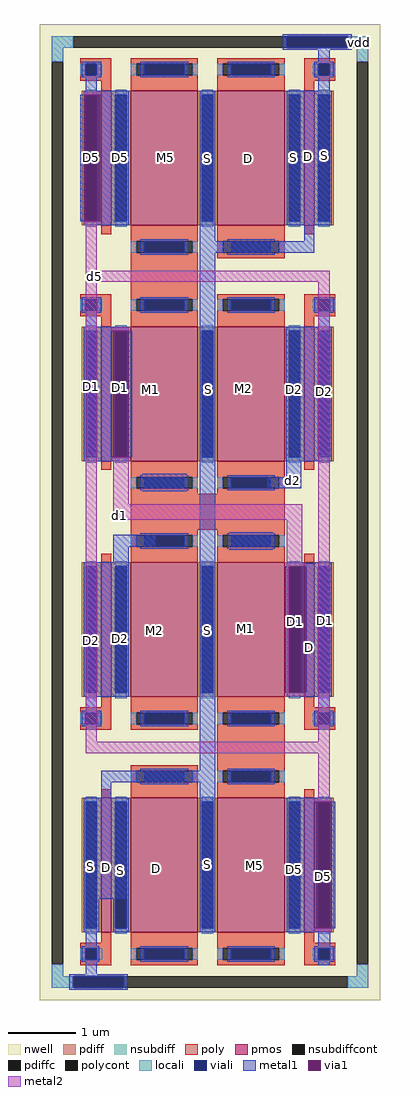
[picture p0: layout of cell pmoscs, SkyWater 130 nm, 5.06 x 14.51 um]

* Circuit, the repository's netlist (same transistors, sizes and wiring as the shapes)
** sch_path: /home/alex/mbkmpolytron/opamp1/mag/pmoscs.sch
.subckt pmoscs VDD D5 D1 D2
*.PININFO VDD:B D5:B D2:B D1:B
XM5 D5 D2 VDD VDD sky130_fd_pr__pfet_01v8 L=1 W=2 nf=1 m=2
XM1 D1 D2 VDD VDD sky130_fd_pr__pfet_01v8 L=1 W=2 nf=1 m=2
XM2 D2 D2 VDD VDD sky130_fd_pr__pfet_01v8 L=1 W=2 nf=1 m=2
XM3 VDD VDD VDD VDD sky130_fd_pr__pfet_01v8 L=1 W=2 nf=1 m=2
XM4 VDD VDD VDD VDD sky130_fd_pr__pfet_01v8 L=.15 W=2 nf=1 m=2
XM6 D2 D2 D2 VDD sky130_fd_pr__pfet_01v8 L=.15 W=2 nf=1 m=2
XM7 D1 D1 D1 VDD sky130_fd_pr__pfet_01v8 L=.15 W=2 nf=1 m=2
XM8 D5 D5 D5 VDD sky130_fd_pr__pfet_01v8 L=.15 W=2 nf=1 m=2
.ends
.end

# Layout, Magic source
magic
tech sky130A
magscale 1 2
<< nwell >>
rect -176 -101 836 2801
<< nsubdiff >>
rect -140 2731 -77 2765
rect 740 2731 800 2765
rect -140 2689 -106 2731
rect 766 2689 800 2731
rect -140 -31 -106 5
rect 766 -31 800 5
rect -140 -65 -77 -31
rect 740 -65 800 -31
<< nsubdiffcont >>
rect -77 2731 740 2765
rect -140 5 -106 2689
rect 766 5 800 2689
rect -77 -65 740 -31
<< poly >>
rect -56 2683 36 2699
rect -56 2649 -40 2683
rect -6 2649 36 2683
rect -56 2633 36 2649
rect 6 2620 36 2633
rect 610 2683 702 2699
rect 610 2649 652 2683
rect 686 2649 702 2683
rect 610 2633 702 2649
rect 610 2625 640 2633
rect 94 1998 294 2105
rect -56 1982 36 1998
rect -56 1948 -40 1982
rect -6 1948 36 1982
rect -56 1932 36 1948
rect 6 1912 36 1932
rect 610 1982 702 1998
rect 610 1948 652 1982
rect 686 1948 702 1982
rect 610 1932 702 1948
rect 610 1901 640 1932
rect 94 1297 552 1404
rect 6 769 36 795
rect -56 753 36 769
rect -56 719 -40 753
rect -6 719 36 753
rect -56 703 36 719
rect 610 769 640 789
rect 610 753 702 769
rect 610 719 652 753
rect 686 719 702 753
rect 610 703 702 719
rect 352 597 552 703
rect 6 69 36 85
rect -56 53 36 69
rect -56 19 -40 53
rect -6 19 36 53
rect -56 3 36 19
rect 610 69 640 91
rect 610 53 702 69
rect 610 19 652 53
rect 686 19 702 53
rect 610 3 702 19
<< polycont >>
rect -40 2649 -6 2683
rect 652 2649 686 2683
rect -40 1948 -6 1982
rect 652 1948 686 1982
rect -40 719 -6 753
rect 652 719 686 753
rect -40 19 -6 53
rect 652 19 686 53
<< locali >>
rect -140 2731 -77 2765
rect 740 2731 800 2765
rect -140 2689 -106 2731
rect 766 2689 800 2731
rect -56 2649 -40 2683
rect -6 2649 10 2683
rect 636 2649 652 2683
rect 686 2649 702 2683
rect -56 1948 -40 1982
rect -6 1948 10 1982
rect 636 1948 652 1982
rect 686 1948 702 1982
rect 652 1873 686 1948
rect -56 719 -40 753
rect -6 719 10 753
rect 636 719 652 753
rect 686 719 702 753
rect 652 703 686 719
rect -56 19 -40 53
rect -6 19 10 53
rect 636 19 652 53
rect 686 19 702 53
rect -140 -31 -106 5
rect 652 3 686 19
rect 766 -31 800 5
rect -140 -65 -77 -31
rect 740 -65 800 -31
<< viali >>
rect 558 2731 740 2765
rect -40 2649 -6 2683
rect 652 2649 686 2683
rect -40 1948 -6 1982
rect 652 1948 686 1982
rect -40 719 -6 753
rect 652 719 686 753
rect -40 19 -6 53
rect 652 19 686 53
rect -77 -65 74 -31
<< metal1 >>
rect 546 2765 752 2771
rect 546 2731 558 2765
rect 740 2731 752 2765
rect 546 2725 752 2731
rect 652 2689 686 2725
rect -52 2683 6 2689
rect -52 2649 -40 2683
rect -6 2649 6 2683
rect -52 2643 6 2649
rect 640 2683 698 2689
rect 640 2649 652 2683
rect 686 2649 698 2683
rect 640 2643 698 2649
rect -40 2602 -6 2643
rect 652 2602 686 2643
rect -46 2590 88 2602
rect -56 2214 -46 2590
rect 6 2214 88 2590
rect -46 2202 88 2214
rect 300 2155 346 2602
rect 558 2202 692 2602
rect 610 2155 640 2202
rect 300 2121 640 2155
rect -52 1982 6 1988
rect -52 1948 -40 1982
rect -6 1948 6 1982
rect -52 1942 6 1948
rect -40 1901 -6 1942
rect -46 1889 88 1901
rect -46 1513 36 1889
rect 88 1513 98 1889
rect -46 1501 88 1513
rect 129 1411 259 1463
rect 42 1247 168 1282
rect 42 1200 88 1247
rect -46 800 88 1200
rect -40 759 -6 800
rect -52 753 6 759
rect -52 719 -40 753
rect -6 719 6 753
rect -52 713 6 719
rect -40 703 -6 713
rect 300 581 346 2121
rect 640 1982 698 1988
rect 640 1948 652 1982
rect 686 1948 698 1982
rect 640 1942 698 1948
rect 652 1901 686 1942
rect 556 1888 686 1901
rect 556 1501 690 1888
rect 556 1454 602 1501
rect 500 1420 602 1454
rect 387 1238 517 1290
rect 558 1198 607 1200
rect 558 1188 692 1198
rect 554 812 564 1188
rect 616 812 692 1188
rect 558 800 692 812
rect 652 759 686 800
rect 640 753 698 759
rect 640 719 652 753
rect 686 719 698 753
rect 640 713 698 719
rect 652 703 686 713
rect 6 547 346 581
rect 6 500 36 547
rect -46 200 88 500
rect -46 100 0 200
rect 300 100 346 547
rect 558 488 692 500
rect 558 112 640 488
rect 692 112 702 488
rect 558 100 692 112
rect -40 59 -6 100
rect 652 59 687 100
rect -52 53 0 59
rect -52 19 -40 53
rect -6 19 0 53
rect -52 13 0 19
rect 640 53 698 59
rect 640 19 652 53
rect 686 19 698 53
rect 640 13 698 19
rect -40 -25 -6 13
rect 652 3 686 13
rect -89 -31 86 -25
rect -89 -65 -77 -31
rect 74 -65 86 -31
rect -89 -71 86 -65
<< via1 >>
rect -46 2214 6 2590
rect 36 1513 88 1889
rect 564 812 616 1188
rect 640 112 692 488
<< metal2 >>
rect -46 2590 6 2600
rect -46 2204 6 2214
rect -40 2068 -6 2204
rect -40 2034 686 2068
rect -40 667 -6 2034
rect 36 1889 88 1899
rect 36 1503 88 1513
rect 42 1373 88 1503
rect 42 1327 604 1373
rect 558 1198 604 1327
rect 558 1188 616 1198
rect 558 812 564 1188
rect 558 802 616 812
rect 652 667 686 2034
rect -40 633 686 667
rect 652 498 686 633
rect 640 488 692 498
rect 640 102 692 112
use sky130_fd_pr__pfet_01v8_2ZH9AN  sky130_fd_pr__pfet_01v8_2ZH9AN_0
transform 1 0 21 0 1 1000
box -109 -262 109 262
use sky130_fd_pr__pfet_01v8_2ZH9AN  sky130_fd_pr__pfet_01v8_2ZH9AN_1
transform 1 0 625 0 1 2402
box -109 -262 109 262
use sky130_fd_pr__pfet_01v8_2ZH9AN  sky130_fd_pr__pfet_01v8_2ZH9AN_2
transform 1 0 625 0 1 1701
box -109 -262 109 262
use sky130_fd_pr__pfet_01v8_2ZH9AN  sky130_fd_pr__pfet_01v8_2ZH9AN_3
transform 1 0 625 0 1 1000
box -109 -262 109 262
use sky130_fd_pr__pfet_01v8_2ZH9AN  sky130_fd_pr__pfet_01v8_2ZH9AN_4
transform 1 0 625 0 1 300
box -109 -262 109 262
use sky130_fd_pr__pfet_01v8_2ZH9AN  sky130_fd_pr__pfet_01v8_2ZH9AN_5
transform 1 0 21 0 1 300
box -109 -262 109 262
use sky130_fd_pr__pfet_01v8_2ZH9AN  sky130_fd_pr__pfet_01v8_2ZH9AN_6
transform 1 0 21 0 1 2402
box -109 -262 109 262
use sky130_fd_pr__pfet_01v8_2ZH9AN  sky130_fd_pr__pfet_01v8_2ZH9AN_7
transform 1 0 21 0 1 1701
box -109 -262 109 262
use sky130_fd_pr__pfet_01v8_SDE6B7  sky130_fd_pr__pfet_01v8_SDE6B7_0
transform 1 0 323 0 1 2402
box -323 -300 323 300
use sky130_fd_pr__pfet_01v8_SDE6B7  sky130_fd_pr__pfet_01v8_SDE6B7_1
transform 1 0 323 0 1 1701
box -323 -300 323 300
use sky130_fd_pr__pfet_01v8_SDE6B7  sky130_fd_pr__pfet_01v8_SDE6B7_2
transform 1 0 323 0 1 1000
box -323 -300 323 300
use sky130_fd_pr__pfet_01v8_SDE6B7  sky130_fd_pr__pfet_01v8_SDE6B7_3
transform 1 0 323 0 1 300
box -323 -300 323 300
<< labels >>
flabel nwell 650 227 684 307 0 FreeSans 160 0 0 0 D5
flabel nwell 564 247 598 327 0 FreeSans 160 0 0 0 D5
flabel nwell 445 259 479 339 0 FreeSans 160 0 0 0 M5
flabel nwell 48 243 82 323 0 FreeSans 160 0 0 0 S
flabel nwell -41 255 -7 335 0 FreeSans 160 0 0 0 S
flabel nwell 655 987 689 1067 0 FreeSans 160 0 0 0 D1
flabel nwell 567 983 601 1063 0 FreeSans 160 0 0 0 D1
flabel nwell 419 963 453 1043 0 FreeSans 160 0 0 0 M1
flabel nwell 149 959 183 1039 0 FreeSans 160 0 0 0 M2
flabel nwell 47 933 81 1013 0 FreeSans 160 0 0 0 D2
flabel nwell -38 928 -4 1008 0 FreeSans 160 0 0 0 D2
flabel nwell 307 261 341 341 0 FreeSans 160 0 0 0 S
flabel nwell 305 958 339 1038 0 FreeSans 160 0 0 0 S
flabel nwell 607 231 641 311 0 FreeSans 160 0 0 0 D
flabel nwell 609 907 643 987 0 FreeSans 160 0 0 0 D
flabel nwell 5 254 39 334 0 FreeSans 160 0 0 0 D
flabel nwell 6 943 40 1023 0 FreeSans 160 0 0 0 D
flabel nwell 654 1669 688 1749 0 FreeSans 160 0 0 0 D2
flabel nwell 611 1673 645 1753 0 FreeSans 160 0 0 0 D
flabel nwell 564 1673 598 1753 0 FreeSans 160 0 0 0 D2
flabel nwell 414 1676 448 1756 0 FreeSans 160 0 0 0 M2
flabel nwell 308 1673 342 1753 0 FreeSans 160 0 0 0 S
flabel nwell 135 1675 169 1755 0 FreeSans 160 0 0 0 M1
flabel nwell 46 1681 80 1761 0 FreeSans 160 0 0 0 D1
flabel nwell 2 1679 36 1759 0 FreeSans 160 0 0 0 D
flabel nwell -39 1682 -5 1762 0 FreeSans 160 0 0 0 D1
flabel nwell 653 2370 687 2450 0 FreeSans 160 0 0 0 S
flabel nwell 607 2366 641 2446 0 FreeSans 160 0 0 0 D
flabel nwell 562 2365 596 2445 0 FreeSans 160 0 0 0 S
flabel nwell 426 2361 460 2441 0 FreeSans 160 0 0 0 D
flabel nwell 306 2362 340 2442 0 FreeSans 160 0 0 0 S
flabel nwell 182 2363 216 2443 0 FreeSans 160 0 0 0 M5
flabel nwell 48 2363 82 2443 0 FreeSans 160 0 0 0 D5
flabel nwell 4 2363 38 2443 0 FreeSans 160 0 0 0 D
flabel nwell -40 2363 -6 2443 0 FreeSans 160 0 0 0 D5
flabel nwell 155 250 189 330 0 FreeSans 160 0 0 0 D
flabel locali 770 2740 782 2750 0 FreeSans 1600 0 0 0 vdd
port 1 nsew
flabel metal2 -20 2044 -8 2054 0 FreeSans 1600 0 0 0 d5
port 2 nsew
flabel metal2 56 1336 68 1346 0 FreeSans 1600 0 0 0 d1
port 3 nsew
flabel metal1 568 1438 580 1448 0 FreeSans 1600 0 0 0 d2
port 4 nsew
<< end >>

# cell sky130_fd_pr__pfet_01v8_2ZH9AN: kit device sky130_fd_pr__pfet_01v8, w 2 l 0.15 m 1 nf 1 diffcov 100 polycov 100 guard 0 glc 1 grc 1 gtc 1 gbc 1 tbcov 100 rlcov 100 topc 0 botc 0 poverlap 0 doverlap 1 lmin 0.15 wmin 0.42 compatible {sky130_fd_pr__pfet_01v8 sky130_fd_pr__pfet_01v8_lvt sky130_fd_pr__pfet_01v8_hvt sky130_fd_pr__pfet_g5v0d10v5} full_metal 1 viasrc 100 viadrn 100 viagate 100 viagb 0 viagr 0 viagl 0 viagt 0

# cell sky130_fd_pr__pfet_01v8_SDE6B7: kit device sky130_fd_pr__pfet_01v8, w 2 l 1 m 1 nf 2 diffcov 100 polycov 100 guard 0 glc 1 grc 1 gtc 1 gbc 1 tbcov 100 rlcov 100 topc 1 botc 1 poverlap 0 doverlap 1 lmin 0.15 wmin 0.42 compatible {sky130_fd_pr__pfet_01v8 sky130_fd_pr__pfet_01v8_lvt sky130_fd_pr__pfet_01v8_hvt sky130_fd_pr__pfet_g5v0d10v5} full_metal 1 viasrc 100 viadrn 100 viagate 70 viagb 0 viagr 0 viagl 0 viagt 0
